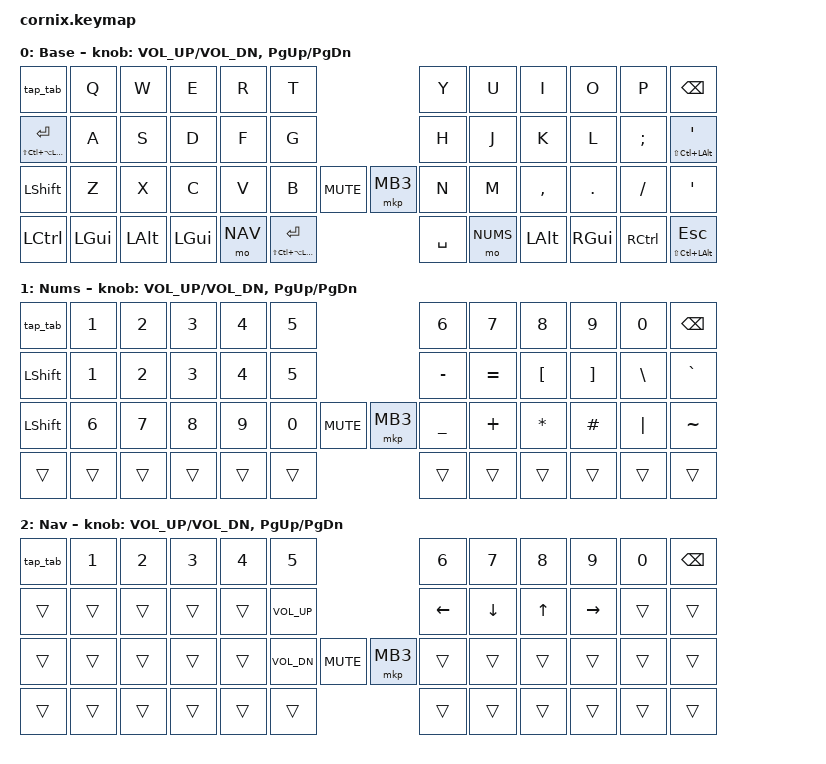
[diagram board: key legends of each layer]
/*
 * Copyright (c) 2020 The ZMK Contributors
 *
 * SPDX-License-Identifier: MIT
 *
 * Ported 1:1 from RMK V1.6 / Vial JSON keymap (uid 16882930253541522617).
 *
 * Source matrix is 8 rows x 7 cols (rows 0..3 = left top/home/bot/thumb,
 * rows 4..7 = right top/home/bot/thumb; col 6 of rows 2 and 5 is the
 * encoder click position). Right-hand columns are listed outer->inner,
 * so they are reversed when laid out in cornix54 row-major order
 * (positions 0..49 from includes/cornix54.h).
 *
 * Layer mapping:
 *   Source layer 0 -> base_layer   (idx 0)
 *   Source layer 1 -> nums_layer   (idx 1, activated by MO(1) on right thumb)
 *   Source layer 2 -> nav_layer    (idx 2, activated by MO(2) on left  thumb)
 *
 * USER00..USER02 RMK macro slots are empty in the source dump, so they
 * map to &trans here (add ZMK macros later if needed).
 */

#include <behaviors.dtsi>
#include <dt-bindings/zmk/bt.h>
#include <dt-bindings/zmk/keys.h>
#include <dt-bindings/zmk/pointing.h>

#include "includes/cornix54.h"

#define HYPER LS(LC(LA(LGUI)))
#define MEH   LS(LC(LALT))

#define BASE  0
#define NUMS  1
#define NAV   2

/ {
    macros {
        // Tap-only TAB: emits press+release as soon as the key is hit, so the
        // host never sees a long press and OS-level auto-repeat does not kick
        // in. Hold the key as long as you want — only one TAB is sent.
        tap_tab: tap_tab {
            label = "TAP_TAB";
            compatible = "zmk,behavior-macro";
            #binding-cells = <0>;
            wait-ms = <0>;
            tap-ms = <5>;
            bindings = <&macro_tap &kp TAB>;
        };
    };

    keymap {
        compatible = "zmk,keymap";

        base_layer {
            display-name = "Base";

            // Source layer 0:
            //   L-top (r0):    TAB    Q   W   E   R   T
            //   L-home (r1):   ALL_T(ENT)  A   S   D   F   G
            //   L-bot  (r2):   LSFT   Z   X   C   V   B          (enc click: MUTE)
            //   L-thumb(r3):   LCTRL  LGUI LALT LGUI MO(2) ALL_T(ENT)
            //   R-top  (r4):   BSPC   P   O   I   U   Y          (cols outer->inner)
            //   R-home (r5):   MEH_T(') ;   L   K   J   H        (enc click: BTN3)
            //   R-bot  (r6):   '      /   .   ,   M   N
            //   R-thumb(r7):   MEH_T(ESC) RCTRL RGUI LALT MO(1) SPACE

            bindings = <
&tap_tab        &kp Q     &kp W     &kp E     &kp R     &kp T                                       &kp Y      &kp U     &kp I      &kp O     &kp P      &kp BSPC
&mt HYPER RET   &kp A     &kp S     &kp D     &kp F     &kp G                                       &kp H      &kp J     &kp K      &kp L     &kp SEMI   &mt MEH SQT
&kp LSHFT       &kp Z     &kp X     &kp C     &kp V     &kp B          &kp C_MUTE   &mkp MB3        &kp N      &kp M     &kp COMMA  &kp DOT   &kp FSLH   &kp SQT
&kp LCTRL       &kp LGUI  &kp LALT  &kp LGUI  &mo NAV   &mt HYPER RET                                &kp SPACE  &mo NUMS  &kp LALT   &kp RGUI  &kp RCTRL  &mt MEH ESC
            >;

            sensor-bindings = <&inc_dec_kp C_VOL_UP C_VOL_DN &inc_dec_kp PG_UP PG_DN>;
        };

        nums_layer {
            display-name = "Nums";

            // Source layer 1 (MO(1) from right thumb):
            //   L-top:    ESC   1   2   3   4   5
            //   L-home:   LSFT  1   2   3   4   5
            //   L-bot:    LSFT  6   7   8   9   0       (enc click: MUTE)
            //   L-thumb:  --    --  --  trans --  --
            //   R-top:    BSPC  0   9   8   7   6
            //   R-home:   `     \   ]   [   =   -       (enc click: BTN3)
            //   R-bot:    ~     |   #   *   +   _       (= LSFT(`/\\/3/8/=/-))
            //   R-thumb:  --    --  --  trans --  --

            bindings = <
&tap_tab   &kp N1    &kp N2    &kp N3    &kp N4    &kp N5                                  &kp N6     &kp N7     &kp N8     &kp N9     &kp N0     &kp BSPC
&kp LSHFT  &kp N1    &kp N2    &kp N3    &kp N4    &kp N5                                  &kp MINUS  &kp EQUAL  &kp LBKT   &kp RBKT   &kp BSLH   &kp GRAVE
&kp LSHFT  &kp N6    &kp N7    &kp N8    &kp N9    &kp N0       &kp C_MUTE   &mkp MB3      &kp UNDER  &kp PLUS   &kp ASTRK  &kp HASH   &kp PIPE   &kp TILDE
&trans      &trans     &trans     &trans    &trans     &trans                                    &trans      &trans      &trans     &trans      &trans      &trans
            >;

            sensor-bindings = <&inc_dec_kp C_VOL_UP C_VOL_DN &inc_dec_kp PG_UP PG_DN>;
        };

        nav_layer {
            display-name = "Nav";

            // Source layer 2 (MO(2) from left thumb):
            //   L-top:    TAB    1   2   3   4   5
            //   L-home:   USER00 --  --  --  --  VOLU
            //   L-bot:    USER01 --  --  --  --  VOLD    (enc click: MUTE)
            //   L-thumb:  USER02 --  --  trans -- --
            //   R-top:    BSPC   0   9   8   7   6
            //   R-home:   --     --  RIGHT UP DOWN LEFT  (enc click: BTN3)
            //   R-bot:    --     --  --  --  --  --
            //   R-thumb:  --     --  --  trans -- --
            //
            // USER00..USER02 are empty RMK macro slots -> &trans.

            bindings = <
&tap_tab   &kp N1    &kp N2    &kp N3    &kp N4    &kp N5                                  &kp N6    &kp N7    &kp N8   &kp N9     &kp N0   &kp BSPC
&trans      &trans     &trans     &trans     &trans     &kp C_VOL_UP                            &kp LEFT  &kp DOWN  &kp UP   &kp RIGHT  &trans    &trans
&trans      &trans     &trans     &trans     &trans     &kp C_VOL_DN  &kp C_MUTE   &mkp MB3     &trans     &trans     &trans    &trans      &trans    &trans
&trans      &trans     &trans     &trans    &trans     &trans                                   &trans     &trans     &trans   &trans      &trans    &trans
            >;

            sensor-bindings = <&inc_dec_kp C_VOL_UP C_VOL_DN &inc_dec_kp PG_UP PG_DN>;
        };
    };
};
